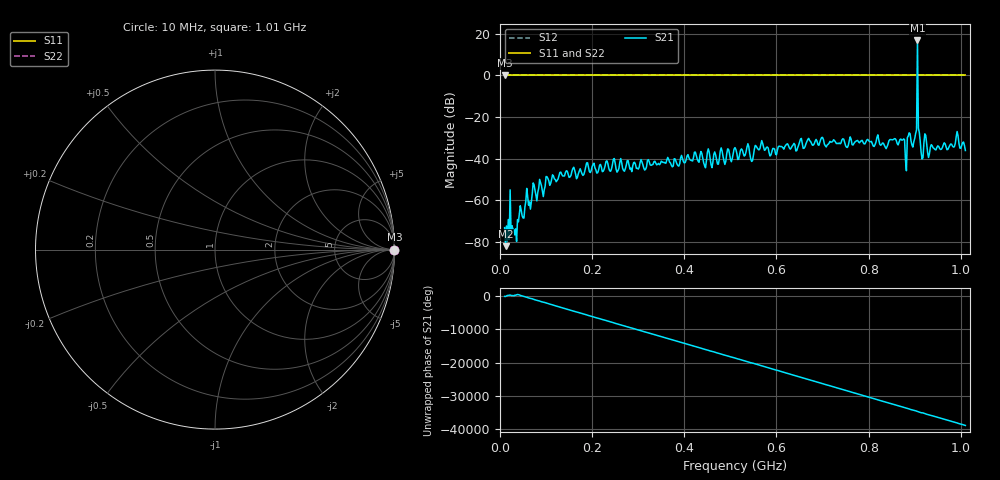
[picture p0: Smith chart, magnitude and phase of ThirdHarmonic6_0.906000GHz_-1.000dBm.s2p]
! 8/16/2025 5:41:24 AM
! C:\ANRITSUVNA\TEMP\TEMP.S2P
! CHANNEL.1
! TR.MEASUREMENT
! RAW.DATA
! RF.CORRECTION.OFF
! AVERAGING.OFF
! IF.BANDWIDTH: 5KHZ
! SWEEPTYPE:  FREQ.SWEEP(Linear)
! Reference Plane Port Info
! PORT:  PORT1  PORT2
! DISTANCE:  0  m  0  m
! TIME:  0  s  0  s
! PHASE.OFFSET:  0  deg.  0  deg.
! LOSS:  0  dB  0  dB
! REF.LOSS:  0  dB  0  dB
! REF.FREQ:  0  Hz  0  Hz
! Power Info
! POWER:  -20  dBm  -20  dBm
! EFF.POWER:  -20  dBm  -20  dBm
! SOURCE.ATTEN:  0  dB  0  dB
! TEST.ATTEN:  0  dB  0  dB
# GHZ S RI R 50.0
! FREQ.GHZ  S11RE  S11IM  S21RE  S21IM  S12RE  S12IM  S22RE  S22IM
!; PortSelection: Port_12
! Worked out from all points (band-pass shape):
!   501 points, 10 MHz to 1.01 GHz, reference 50 ohm
!   highest |S21| = 16.74 dB at 906 MHz (marker M1); lowest = -82.0 dB at 12 MHz (marker M2)
!   |S21| within 3 dB of the highest: 905.8603 MHz to 906.1424 MHz (282.1 kHz wide, 0.0311 % of centre)
!   lowest |S11| = 0.0 dB at 10 MHz (marker M3)
!   |S11| at or under -10 dB: nowhere
!   |S22| runs from 0.0 to 0.0 dB; largest |S21 - S12| = 6.3
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0.01  1 0  5.28e-05 -0.000214  1 0  1 0
0.012  1 0  -2.33e-05 -7.55e-05  1 0  1 0
0.026  1 0  -0.000206 0.000133  1 0  1 0
0.032  1 0  2.71e-05 -0.000145  1 0  1 0
0.074  1 0  0.00118 0.00203  1 0  1 0
0.178  1 0  -0.00419 0.00104  1 0  1 0
0.344  1 0  0.00637 -0.00429  1 0  1 0
0.51  1 0  -0.0135 0.0124  1 0  1 0
0.546  1 0  -0.00533 0.00669  1 0  1 0
0.568  1 0  0.0206 -0.0176  1 0  1 0
0.678  1 0  -0.0203 -0.00496  1 0  1 0
0.844  1 0  0.0254 -0.00835  1 0  1 0
0.874  1 0  -0.027 -0.00778  1 0  1 0
0.878  1 0  0.0245 0.0143  1 0  1 0
0.9  1 0  -0.0177 -0.0247  1 0  1 0
0.902  1 0  -0.0356 0.018  1 0  1 0
0.906  1 0  3.939 -5.626  1 0  1 0
0.91  1 0  -0.0164 0.039  1 0  1 0
0.912  1 0  0.0242 0.00865  1 0  1 0
0.932  1 0  0.0129 0.00314  1 0  1 0
0.992  1 0  -0.0137 0.0426  1 0  1 0
1.01  1 0  0.00282 0.0154  1 0  1 0
